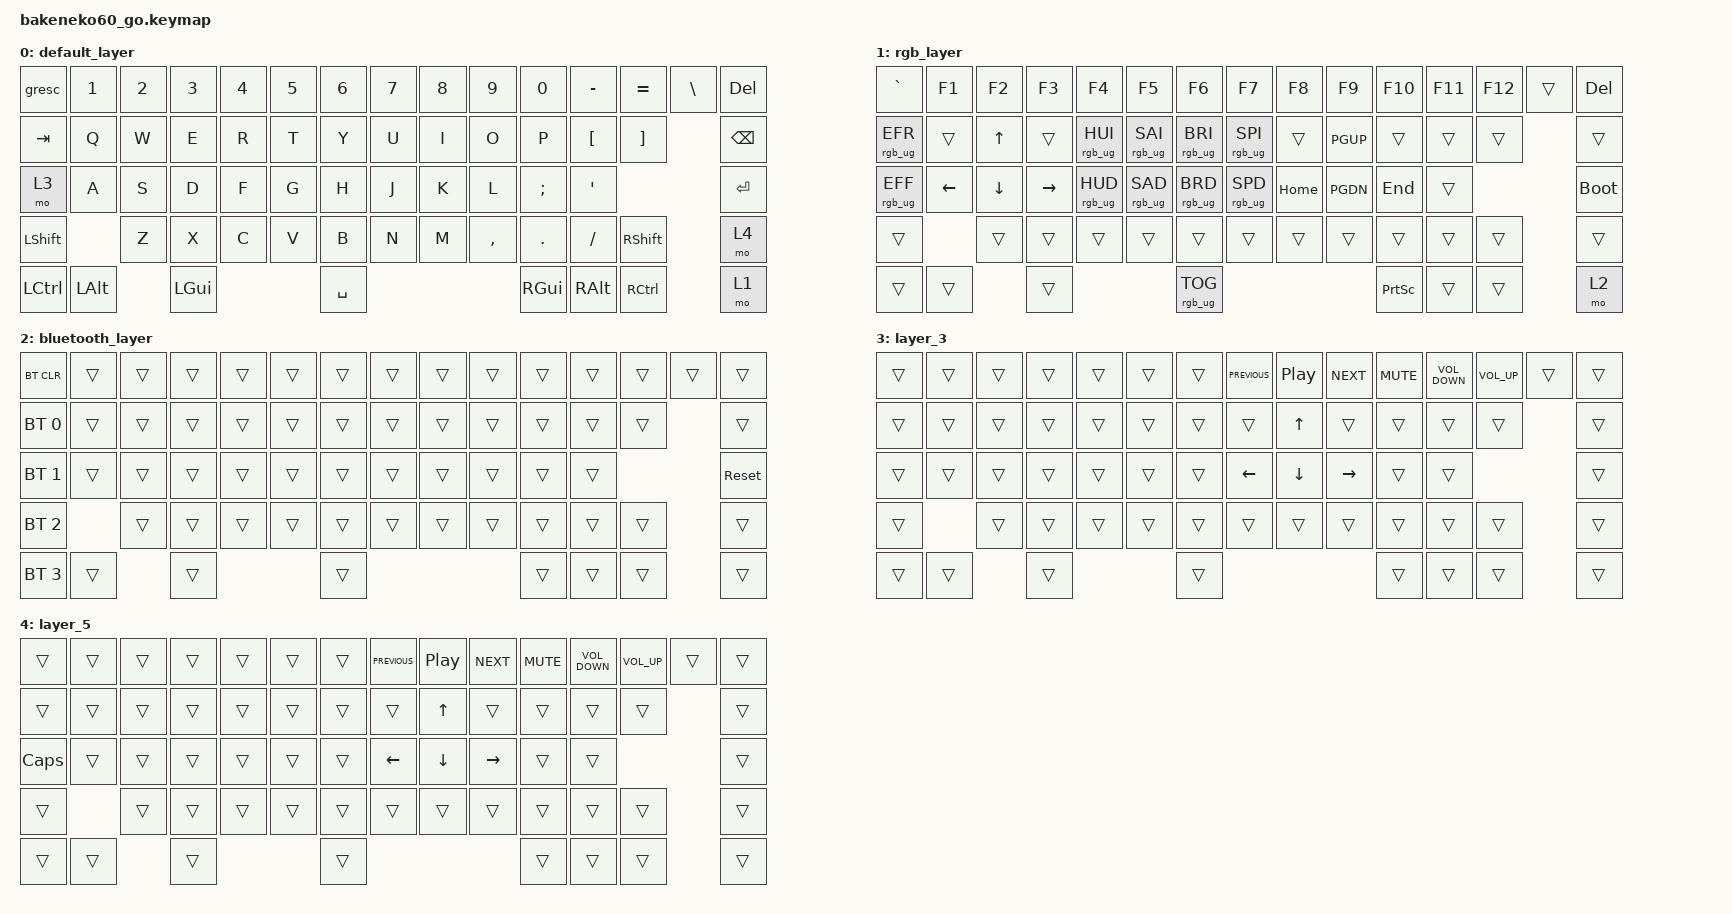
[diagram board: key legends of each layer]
/*
 * Copyright (c) 2023 Andrew Kannan
 *
 * SPDX-License-Identifier: MIT
 */

#include <behaviors.dtsi>
#include <dt-bindings/zmk/bt.h>
#include <dt-bindings/zmk/keys.h>
#include <dt-bindings/zmk/rgb.h>

/ {
    keymap {
        compatible = "zmk,keymap";

        default_layer {
            // ------------------------------------------------------------------------------------------
            // | ESC |  1  |  2  |  3  |  4  |  5  |  6  |  7  |  8  |  9  |  0  |  -  |  =  | BKSP|BKSP|
            // | TAB  |  Q  |  W  |  E  |  R  |  T  |  Y  |  U  |  I  |  O  |  P  |  [  |  ]  |   "|"   |
            // | CAPS  |  A  |  S  |  D  |  F  |  G  |  H  |  J  |  K  |  L  |  ;  |  '  |     ENTER    |
            // |  SHIFT  |  Z  |  X  |  C  |  V  |  B  |  N  |  M  |  ,  |  .  |  /  |  SHIFT  | MO(1)  |
            // |  CTL  |  WIN  |  ALT  |            SPACE              |  ALT  |  WIN  |  MO(1) |  CTL  |
            // ------------------------------------------------------------------------------------------

            bindings = <
&gresc     &kp N1        &kp N2  &kp N3        &kp N4  &kp N5  &kp N6     &kp N7  &kp N8  &kp N9     &kp N0         &kp MINUS      &kp EQUAL          &kp BACKSLASH  &kp DELETE
&kp TAB    &kp Q         &kp W   &kp E         &kp R   &kp T   &kp Y      &kp U   &kp I   &kp O      &kp P          &kp LBKT       &kp RBKT                          &kp BACKSPACE
&mo 3      &kp A         &kp S   &kp D         &kp F   &kp G   &kp H      &kp J   &kp K   &kp L      &kp SEMI       &kp SQT                                          &kp RET
&kp LSHFT                &kp Z   &kp X         &kp C   &kp V   &kp B      &kp N   &kp M   &kp COMMA  &kp DOT        &kp FSLH       &kp RSHFT                         &mo 4
&kp LCTRL  &kp LEFT_ALT          &kp LEFT_GUI                  &kp SPACE                             &kp RIGHT_GUI  &kp RIGHT_ALT  &kp RIGHT_CONTROL                 &mo 1
            >;
        };

        rgb_layer {
            // ------------------------------------------------------------------------------------------------
            // |    `   | F1  | F2  | F3  | F4  | F5  | F6  | F7  | F8  | F9  | F10  | F11 | F12 |     | DEL  |
            // | EFCT REV|   |  UP |   | HUEUP | SATUP | BRIUP | SPDUP |      |  PGUP |    |     |    |       |
            // | EFCT FWD | LT |  DN  | RT | HUEDN | SATDN | BRIDN | SPDDN | HOME | PGDN | END  |  | BOOTLDR  |
            // |             |     |      |      |     |     |     |     |     |     |     |         |        |
            // |         |      |      |             TOG RGB                | PRT SCR |       |       |  MO(2)|
            // ------------------------------------------------------------------------------------------------

            bindings = <
&kp GRAVE        &kp F1    &kp F2    &kp F3     &kp F4           &kp F5           &kp F6           &kp F7           &kp F8    &kp F9    &kp F10    &kp F11  &kp F12  &trans  &kp DEL
&rgb_ug RGB_EFR  &trans    &kp UP    &trans     &rgb_ug RGB_HUI  &rgb_ug RGB_SAI  &rgb_ug RGB_BRI  &rgb_ug RGB_SPI  &trans    &kp PGUP  &trans     &trans   &trans           &trans
&rgb_ug RGB_EFF  &kp LEFT  &kp DOWN  &kp RIGHT  &rgb_ug RGB_HUD  &rgb_ug RGB_SAD  &rgb_ug RGB_BRD  &rgb_ug RGB_SPD  &kp HOME  &kp PGDN  &kp END    &trans                    &bootloader
&trans                     &trans    &trans     &trans           &trans           &trans           &trans           &trans    &trans    &trans     &trans   &trans           &trans
&trans           &trans              &trans                                       &rgb_ug RGB_TOG                                       &kp PSCRN  &trans   &trans           &mo 2
            >;
        };

        bluetooth_layer {
            // ------------------------------------------------------------------------------------------------
            // | BT CLR |     |     |     |     |     |     |     |     |     |     |    |    |       |       |
            // |  BT 1   |   |     |   |       |       |       |       |   |     |    |     |     |           |
            // |   BT 2   |    |      |    |       |       |       |       |      |      |      |  |   Reset  |
            // |    BT 3     |     |      |      |     |     |     |     |     |     |     |         |        |
            // |   BT 4  |      |      |                                    |         |       |       |       |
            // ------------------------------------------------------------------------------------------------

            bindings = <
&bt BT_CLR    &trans  &trans  &trans  &trans  &trans  &trans  &trans  &trans  &trans  &trans  &trans  &trans  &trans  &trans
&bt BT_SEL 0  &trans  &trans  &trans  &trans  &trans  &trans  &trans  &trans  &trans  &trans  &trans  &trans          &trans
&bt BT_SEL 1  &trans  &trans  &trans  &trans  &trans  &trans  &trans  &trans  &trans  &trans  &trans                  &sys_reset
&bt BT_SEL 2          &trans  &trans  &trans  &trans  &trans  &trans  &trans  &trans  &trans  &trans  &trans          &trans
&bt BT_SEL 3  &trans          &trans                  &trans                          &trans  &trans  &trans          &trans
            >;
        };

        layer_3 {
            bindings = <
&trans  &trans  &trans  &trans  &trans  &trans  &trans  &kp C_PREVIOUS  &kp C_PLAY_PAUSE  &kp C_NEXT  &kp C_MUTE  &kp C_VOLUME_DOWN  &kp C_VOLUME_UP  &trans  &trans
&trans  &trans  &trans  &trans  &trans  &trans  &trans  &trans          &kp UP_ARROW      &trans      &trans      &trans             &trans                   &trans
&trans  &trans  &trans  &trans  &trans  &trans  &trans  &kp LEFT_ARROW  &kp DOWN_ARROW    &kp RIGHT   &trans      &trans                                      &trans
&trans          &trans  &trans  &trans  &trans  &trans  &trans          &trans            &trans      &trans      &trans             &trans                   &trans
&trans  &trans          &trans                  &trans                                                &trans      &trans             &trans                   &trans
            >;
        };

        layer_5 {
            bindings = <
&trans    &trans  &trans  &trans  &trans  &trans  &trans  &kp C_PREVIOUS  &kp C_PLAY_PAUSE  &kp C_NEXT  &kp C_MUTE  &kp C_VOLUME_DOWN  &kp C_VOLUME_UP  &trans  &trans
&trans    &trans  &trans  &trans  &trans  &trans  &trans  &trans          &kp UP_ARROW      &trans      &trans      &trans             &trans                   &trans
&kp CLCK  &trans  &trans  &trans  &trans  &trans  &trans  &kp LEFT_ARROW  &kp DOWN_ARROW    &kp RIGHT   &trans      &trans                                      &trans
&trans            &trans  &trans  &trans  &trans  &trans  &trans          &trans            &trans      &trans      &trans             &trans                   &trans
&trans    &trans          &trans                  &trans                                                &trans      &trans             &trans                   &trans
            >;
        };
    };

    combos {
        compatible = "zmk,combos";

        combo_bt {
            timeout-ms = <50>;
            key-positions = <61 62>;
            bindings = <&mo 2>;
        };
    };
};
